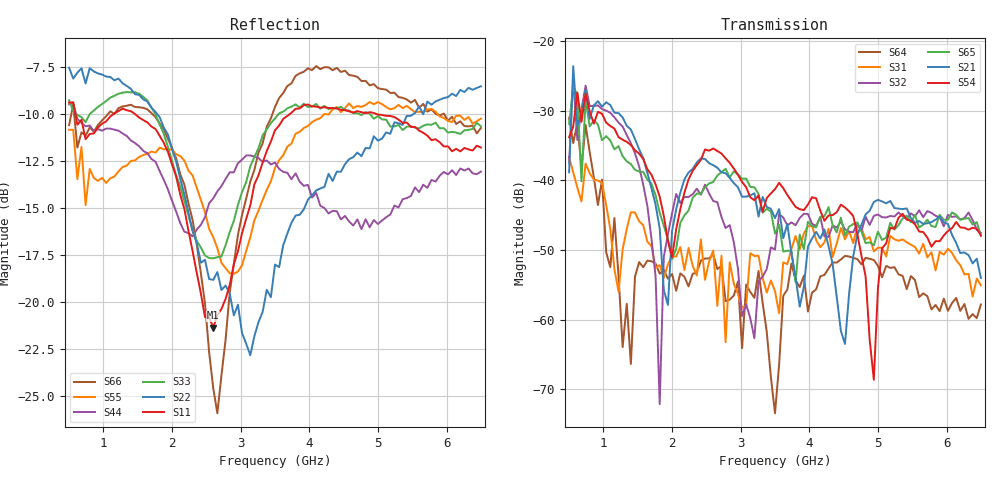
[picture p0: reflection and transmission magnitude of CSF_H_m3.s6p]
!Keysight Technologies,M9804A,MY58100912,A.14.10.03
!Date: Thursday, April 27, 2023 10:28:33
!Correction: S11(C  6-Port  )
!S12(C  6-Port  )
!S13(C  6-Port  )
!S14(C  6-Port  )
!S15(C  6-Port  )
!S16(C  6-Port  )
!S21(C  6-Port  )
!S22(C  6-Port  )
!S23(C  6-Port  )
!S24(C  6-Port  )
!S25(C  6-Port  )
!S26(C  6-Port  )
!S31(C  6-Port  )
!S32(C  6-Port  )
!S33(C  6-Port  )
!S34(C  6-Port  )
!S35(C  6-Port  )
!S36(C  6-Port  )
!S41(C  6-Port  )
!S42(C  6-Port  )
!S43(C  6-Port  )
!S44(C  6-Port  )
!S45(C  6-Port  )
!S46(C  6-Port  )
!S51(C  6-Port  )
!S52(C  6-Port  )
!S53(C  6-Port  )
!S54(C  6-Port  )
!S55(C  6-Port  )
!S56(C  6-Port  )
!S61(C  6-Port  )
!S62(C  6-Port  )
!S63(C  6-Port  )
!S64(C  6-Port  )
!S65(C  6-Port  )
!S66(C  6-Port  )
!S6P File: Measurement: :
# Hz S  RI  R 50
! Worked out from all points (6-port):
!   101 points, 500 MHz to 6.5 GHz, reference 50 ohm
!   strongest paths, dB at 500 MHz, 2 GHz, 3.5 GHz, 5 GHz, 6.5 GHz:
!     S54: -33.8, -51.1, -41.3, -55.5, -47.9
!     S21: -38.8, -47.3, -45.4, -42.8, -54.0
!     S65: -31.9, -51.3, -47.7, -47.4, -48.0
!     S32: -37.5, -44.8, -49.9, -44.9, -47.6
!     S31: -36.7, -50.9, -55.9, -49.7, -55.1
!     S64: -31.0, -53.5, -73.5, -52.3, -57.8
!   lowest |S11| = -21.4 dB at 2.6 GHz (marker M1), VSWR 1.19, Z = 42.4 + j2.28 ohm
!   |S11| at or under -10 dB: 592.4 MHz to 1.141 GHz (548.5 MHz wide, 63.3 % of centre); 1.467 GHz to 3.709 GHz (2.242 GHz wide, 86.6 % of centre); 4.991 GHz to end of sweep
